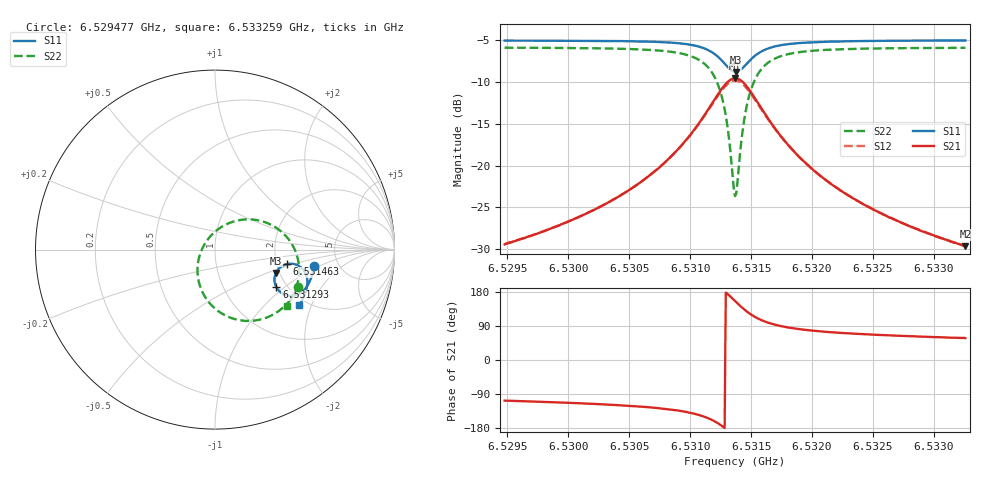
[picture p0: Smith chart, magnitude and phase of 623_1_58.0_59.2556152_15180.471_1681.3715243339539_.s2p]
#  HZ  S  RI  R  50.00
! Rohde & Schwarz Vector Network Analyzer
! Rohde-Schwarz,ZNB20-2Port,1311601062101988,3.16
! Created: UTC 3/21/2024, 1:18:13 AM
! freq[Hz]  re:S11  im:S11  re:S21  im:S21  re:S12  im:S12  re:S22  im:S22
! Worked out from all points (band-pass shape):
!   401 points, 6.529477 GHz to 6.533259 GHz, reference 50 ohm
!   highest |S21| = -9.54 dB at 6.531368 GHz (marker M1); lowest = -29.7 dB at 6.533259 GHz (marker M2)
!   |S21| within 3 dB of the highest: 6.531181 GHz to 6.531559 GHz (377.9 kHz wide, 0.00579 % of centre)
!   lowest |S11| = -8.8 dB at 6.531378 GHz (marker M3), VSWR 2.14, Z = 95.7 - j28.7 ohm
!   |S11| at or under -10 dB: nowhere
!   |S22| runs from -23.7 to -5.9 dB; largest |S21 - S12| = 0.014
!   S11 on the Smith chart (normalised r, x): 6.529477 GHz: 3.29, -0.89; 6.531293 GHz: 1.76, -0.88; 6.531463 GHz: 2.27, -0.44; 6.533259 GHz: 1.83, -1.64
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6.5294773e9  0.553 -0.0923  -0.00989 -0.0322  -0.0107 -0.032  0.4626 -0.2111
6.5301108e9  0.5399 -0.1458  -0.0206 -0.0456  -0.0219 -0.0451  0.4269 -0.2703
6.5304417e9  0.528 -0.1773  -0.0334 -0.0583  -0.035 -0.0575  0.3937 -0.3095
6.5307443e9  0.5082 -0.211  -0.0585 -0.0772  -0.0609 -0.0756  0.3363 -0.3549
6.5309618e9  0.4786 -0.2396  -0.1024 -0.0964  -0.1053 -0.0926  0.2484 -0.3906
6.531132e9  0.427 -0.2572  -0.1829 -0.0991  -0.1846 -0.0912  0.1028 -0.385
6.5312265e9  0.3774 -0.2455  -0.2589 -0.062  -0.2562 -0.051  -0.0212 -0.3079
6.5312927e9  0.3421 -0.2095  -0.3087 0.0102  -0.3002 0.0206  -0.0907 -0.1775
6.5313211e9  0.3333 -0.1852  -0.3183 0.0551  -0.3073 0.0633  -0.0975 -0.1019
6.5313495e9  0.332 -0.1577  -0.3149 0.1041  -0.3023 0.1092  -0.0824 -0.0227
6.5313684e9  0.336 -0.1391  -0.3044 0.1364  -0.2915 0.1393  -0.0594 0.0279
6.5313778e9  0.3394 -0.1303  -0.2967 0.1516  -0.2841 0.1532  -0.0442 0.0512
6.5313873e9  0.3438 -0.122  -0.2877 0.1659  -0.2753 0.1666  -0.027 0.0729
6.5314346e9  0.3757 -0.0901  -0.2274 0.2189  -0.2179 0.2156  0.081 0.1488
6.5314629e9  0.3985 -0.0809  -0.1866 0.234  -0.1795 0.2298  0.1507 0.1666
6.5315291e9  0.4458 -0.0816  -0.1046 0.2329  -0.1011 0.229  0.2874 0.1495
6.5316237e9  0.4863 -0.1062  -0.0355 0.1962  -0.0339 0.194  0.3981 0.0719
6.5317655e9  0.5093 -0.1447  0.00467 0.1438  0.00586 0.1429  0.4561 -0.0328
6.5320019e9  0.5144 -0.1894  0.0205 0.0932  0.0218 0.0927  0.4681 -0.1365
6.5322856e9  0.5079 -0.2252  0.0224 0.0633  0.0233 0.063  0.4555 -0.2039
6.5326354e9  0.4959 -0.2587  0.0206 0.0443  0.0216 0.044  0.4357 -0.2546
6.5332595e9  0.4708 -0.3067  0.0175 0.0278  0.0182 0.0275  0.4004 -0.3125
